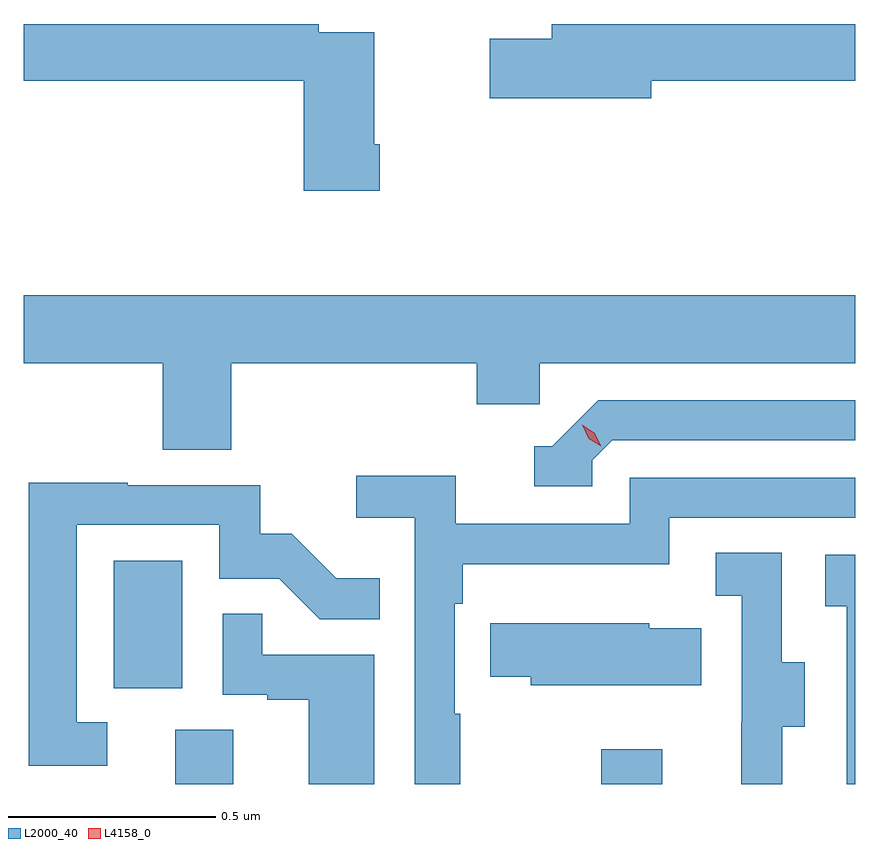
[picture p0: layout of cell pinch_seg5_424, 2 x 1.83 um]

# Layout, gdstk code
import gdstk
lib = gdstk.Library(unit=1e-6, precision=1e-09)
def R(c, l, rs):  # rectangles x0, y0, x1, y1
    for r in rs: c.add(gdstk.rectangle(r[:2], r[2:], *l))
def P(c, l, *ps):  # polygons
    for p in ps: c.add(gdstk.Polygon(p, *l))
L2000_40 = (2000, 40)
L4158_0 = (4158, 0)

pinch_seg5_424 = lib.new_cell('pinch_seg5_424')
R(pinch_seg5_424, L2000_40, [(981.317,859.744,981.457,859.874), (982.342,859.744,982.489,859.828), (981.17,859.974,981.334,860.281)])
P(pinch_seg5_424, L2000_40, [(982.462,861.436),(982.953,861.436),(982.953,861.572),(982.223,861.572),(982.223,861.536),(982.074,861.536),(982.074,861.394),(982.462,861.394)],
  [(981.809,861.283),(981.796,861.283),(981.796,861.552),(981.662,861.552),(981.662,861.572),(980.953,861.572),(980.953,861.436),(981.626,861.436),(981.626,861.171),(981.809,861.171)],
  [(981.452,860.756),(982.043,860.756),(982.043,860.658),(982.194,860.658),(982.194,860.756),(982.953,860.756),(982.953,860.92),(980.953,860.92),(980.953,860.756),(981.287,860.756),(981.287,860.548),(981.452,860.548)],
  [(982.32,860.523),(982.368,860.571),(982.953,860.571),(982.953,860.667),(982.335,860.667),(982.224,860.556),(982.181,860.556),(982.181,860.46),(982.32,860.46)],
  [(982.003,859.913),(981.99,859.913),(981.99,860.177),(982.009,860.177),(982.009,860.273),(982.506,860.273),(982.506,860.385),(982.953,860.385),(982.953,860.481),(982.41,860.481),(982.41,860.37),(981.992,860.37),(981.992,860.486),(981.753,860.486),(981.753,860.384),(981.894,860.384),(981.894,859.744),(982.003,859.744)],
  [(981.154,859.893),(981.081,859.893),(981.081,860.367),(981.423,860.367),(981.423,860.238),(981.567,860.238),(981.665,860.14),(981.809,860.14),(981.809,860.239),(981.705,860.239),(981.598,860.346),(981.522,860.346),(981.522,860.463),(981.203,860.463),(981.203,860.468),(980.965,860.468),(980.965,859.788),(981.154,859.788)],
  [(982.777,859.882),(982.831,859.882),(982.831,860.037),(982.776,860.037),(982.776,860.3),(982.617,860.3),(982.617,860.197),(982.68,860.197),(982.68,859.893),(982.679,859.893),(982.679,859.744),(982.777,859.744)],
  [(982.953,860.295),(982.881,860.295),(982.881,860.171),(982.932,860.171),(982.932,859.744),(982.953,859.744)],
  [(981.796,860.055),(981.527,860.055),(981.527,860.153),(981.432,860.153),(981.432,859.959),(981.539,859.959),(981.539,859.947),(981.638,859.947),(981.638,859.744),(981.796,859.744)],
  [(982.583,860.119),(982.458,860.119),(982.458,860.131),(982.075,860.131),(982.075,860.002),(982.173,860.002),(982.173,859.982),(982.583,859.982)])
P(pinch_seg5_424, L4158_0, [(982.342,860.556),(982.312,860.575),(982.296,860.608),(982.296,860.608),(982.296,860.608),(982.327,860.588),(982.342,860.556),(982.342,860.556)])

lib.write_gds('pinch_seg5_424.gds')
